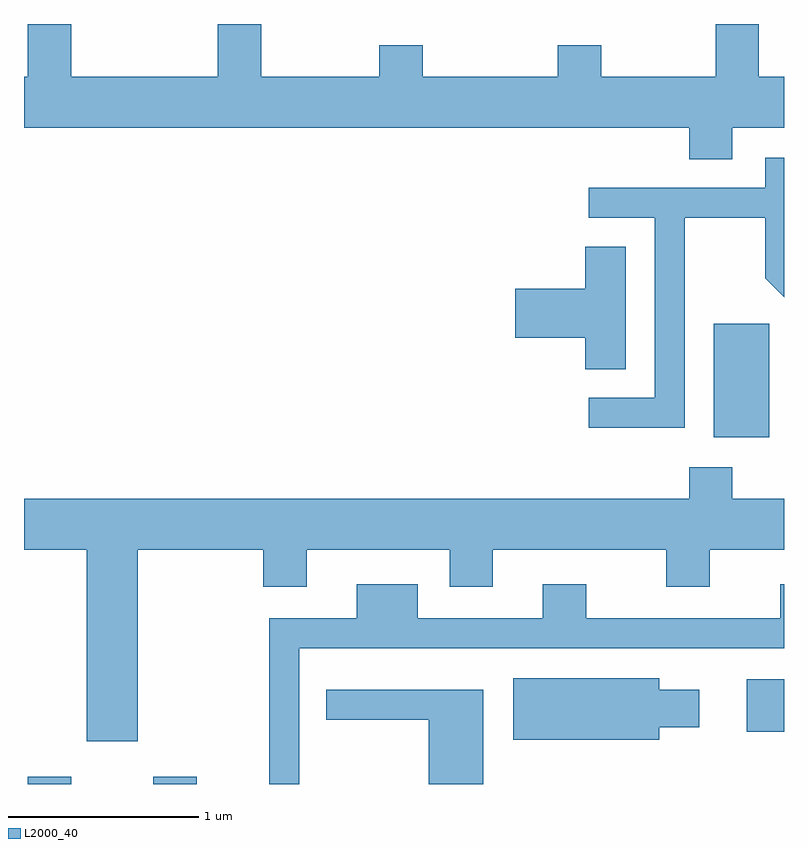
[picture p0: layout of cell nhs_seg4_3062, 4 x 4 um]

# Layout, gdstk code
import gdstk
lib = gdstk.Library(unit=1e-6, precision=1e-09)
def R(c, l, rs):  # rectangles x0, y0, x1, y1
    for r in rs: c.add(gdstk.rectangle(r[:2], r[2:], *l))
def P(c, l, *ps):  # polygons
    for p in ps: c.add(gdstk.Polygon(p, *l))
L2000_40 = (2000, 40)

nhs_seg4_3062 = lib.new_cell('nhs_seg4_3062')
R(nhs_seg4_3062, L2000_40, [(275.631,1257.982,275.859,1258.019), (276.291,1257.982,276.519,1258.019), (279.416,1258.256,279.611,1258.534), (279.241,1259.806,279.534,1260.404)])
P(nhs_seg4_3062, L2000_40, [(279.339,1261.436),(279.611,1261.436),(279.611,1261.704),(279.479,1261.704),(279.479,1261.982),(279.251,1261.982),(279.251,1261.704),(278.649,1261.704),(278.649,1261.869),(278.421,1261.869),(278.421,1261.704),(277.709,1261.704),(277.709,1261.869),(277.481,1261.869),(277.481,1261.704),(276.859,1261.704),(276.859,1261.982),(276.631,1261.982),(276.631,1261.704),(275.859,1261.704),(275.859,1261.982),(275.631,1261.982),(275.631,1261.704),(275.611,1261.704),(275.611,1261.436),(279.111,1261.436),(279.111,1261.271),(279.339,1261.271)],
  [(279.089,1260.961),(279.511,1260.961),(279.511,1260.644),(279.611,1260.544),(279.611,1261.279),(279.511,1261.279),(279.511,1261.119),(278.583,1261.119),(278.583,1260.961),(278.931,1260.961),(278.931,1260.014),(278.583,1260.014),(278.583,1259.856),(279.089,1259.856)],
  [(278.779,1260.809),(278.566,1260.809),(278.566,1260.589),(278.196,1260.589),(278.196,1260.331),(278.566,1260.331),(278.566,1260.166),(278.779,1260.166)],
  [(276.209,1259.216),(276.871,1259.216),(276.871,1259.021),(277.099,1259.021),(277.099,1259.216),(277.851,1259.216),(277.851,1259.021),(278.079,1259.021),(278.079,1259.216),(278.991,1259.216),(278.991,1259.021),(279.219,1259.021),(279.219,1259.216),(279.611,1259.216),(279.611,1259.484),(279.339,1259.484),(279.339,1259.649),(279.111,1259.649),(279.111,1259.484),(275.611,1259.484),(275.611,1259.216),(275.941,1259.216),(275.941,1258.206),(276.209,1258.206)],
  [(277.059,1258.696),(279.611,1258.696),(279.611,1259.034),(279.591,1259.034),(279.591,1258.854),(278.569,1258.854),(278.569,1259.034),(278.341,1259.034),(278.341,1258.854),(277.684,1258.854),(277.684,1259.034),(277.361,1259.034),(277.361,1258.854),(276.901,1258.854),(276.901,1257.982),(277.059,1257.982)],
  [(278.954,1258.281),(279.164,1258.281),(279.164,1258.479),(278.954,1258.479),(278.954,1258.539),(278.186,1258.539),(278.186,1258.216),(278.954,1258.216)],
  [(278.029,1258.479),(277.203,1258.479),(277.203,1258.321),(277.741,1258.321),(277.741,1257.982),(278.029,1257.982)])

lib.write_gds('nhs_seg4_3062.gds')
